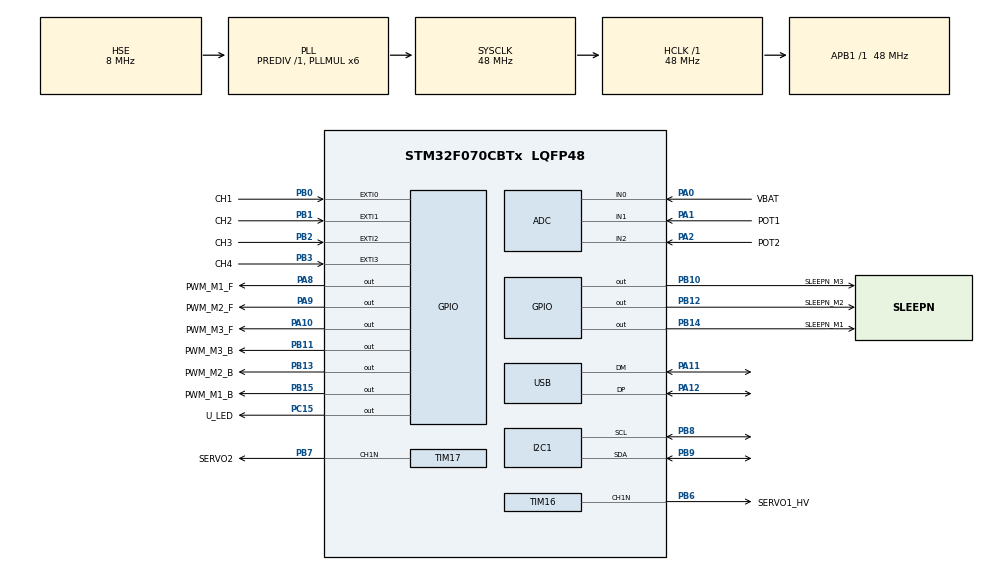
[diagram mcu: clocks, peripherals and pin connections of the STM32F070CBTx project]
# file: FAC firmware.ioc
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ADC.ContinuousConvMode=DISABLE
ADC.DMAContinuousRequests=ENABLE
ADC.DiscontinuousConvMode=DISABLE
ADC.EOCSelection=ADC_EOC_SEQ_CONV
ADC.SamplingTime=ADC_SAMPLETIME_55CYCLES_5
Dma.ADC.2.Direction=DMA_PERIPH_TO_MEMORY
Dma.ADC.2.Instance=DMA1_Channel1
Dma.ADC.2.MemDataAlignment=DMA_MDATAALIGN_HALFWORD
Dma.ADC.2.MemInc=DMA_MINC_ENABLE
Dma.ADC.2.Mode=DMA_CIRCULAR
Dma.ADC.2.PeriphDataAlignment=DMA_PDATAALIGN_HALFWORD
Dma.ADC.2.PeriphInc=DMA_PINC_DISABLE
Dma.ADC.2.Priority=DMA_PRIORITY_LOW
Dma.Request0=TIM1_CH3/UP
Dma.Request1=TIM3_CH4/UP
Dma.Request2=ADC
Dma.TIM1_CH3/UP.0.Direction=DMA_MEMORY_TO_PERIPH
Dma.TIM1_CH3/UP.0.Instance=DMA1_Channel5
Dma.TIM1_CH3/UP.0.MemDataAlignment=DMA_MDATAALIGN_WORD
Dma.TIM1_CH3/UP.0.MemInc=DMA_MINC_ENABLE
Dma.TIM1_CH3/UP.0.Mode=DMA_CIRCULAR
Dma.TIM1_CH3/UP.0.PeriphDataAlignment=DMA_PDATAALIGN_WORD
Dma.TIM1_CH3/UP.0.PeriphInc=DMA_PINC_DISABLE
Dma.TIM1_CH3/UP.0.Priority=DMA_PRIORITY_LOW
Dma.TIM3_CH4/UP.1.Direction=DMA_MEMORY_TO_PERIPH
Dma.TIM3_CH4/UP.1.Instance=DMA1_Channel3
Dma.TIM3_CH4/UP.1.MemDataAlignment=DMA_MDATAALIGN_WORD
Dma.TIM3_CH4/UP.1.MemInc=DMA_MINC_ENABLE
Dma.TIM3_CH4/UP.1.Mode=DMA_CIRCULAR
Dma.TIM3_CH4/UP.1.PeriphDataAlignment=DMA_PDATAALIGN_WORD
Dma.TIM3_CH4/UP.1.PeriphInc=DMA_PINC_DISABLE
Dma.TIM3_CH4/UP.1.Priority=DMA_PRIORITY_LOW
I2C1.Timing=0x00201D2B
Mcu.Family=STM32F0
Mcu.Name=STM32F070CBTx
Mcu.Package=LQFP48
NVIC.DMA1_Channel1_IRQn=true\:0\:0\:false\:false\:true\:false\:true\:true
NVIC.DMA1_Channel2_3_IRQn=true\:0\:0\:false\:false\:true\:false\:true\:true
NVIC.DMA1_Channel4_5_IRQn=true\:0\:0\:false\:false\:true\:false\:true\:true
NVIC.EXTI0_1_IRQn=true\:0\:0\:false\:false\:true\:true\:true\:true
NVIC.EXTI2_3_IRQn=true\:0\:0\:false\:false\:true\:true\:true\:true
NVIC.USB_IRQn=true\:0\:0\:false\:false\:true\:false\:true\:true
PA0.GPIO_Label=VBAT
PA0.Mode=IN0
PA0.Signal=ADC_IN0
PA1.GPIO_Label=POT1
PA1.Mode=IN1
PA1.Signal=ADC_IN1
PA10.GPIO_Label=PWM_M3_F
PA10.Signal=GPIO_Output
PA11.Mode=Device
PA11.Signal=USB_DM
PA12.Mode=Device
PA12.Signal=USB_DP
PA13.Mode=Serial_Wire
PA13.Signal=SYS_SWDIO
PA14.Mode=Serial_Wire
PA14.Signal=SYS_SWCLK
PA2.GPIO_Label=POT2
PA2.Mode=IN2
PA2.Signal=ADC_IN2
PA8.GPIO_Label=PWM_M1_F
PA8.Signal=GPIO_Output
PA9.GPIO_Label=PWM_M2_F
PA9.Signal=GPIO_Output
PB0.GPIO_Label=CH1
PB0.GPIO_ModeDefaultEXTI=GPIO_MODE_IT_RISING_FALLING
PB0.GPIO_PuPd=GPIO_PULLUP
PB0.Signal=GPXTI0
PB1.GPIO_Label=CH2
PB1.GPIO_ModeDefaultEXTI=GPIO_MODE_IT_FALLING
PB1.GPIO_PuPd=GPIO_PULLUP
PB1.Signal=GPXTI1
PB10.GPIO_Label=SLEEPN_M3
PB10.Signal=GPIO_Output
PB11.GPIO_Label=PWM_M3_B
PB11.Signal=GPIO_Output
PB12.GPIO_Label=SLEEPN_M2
PB12.Signal=GPIO_Output
PB13.GPIO_Label=PWM_M2_B
PB13.Signal=GPIO_Output
PB14.GPIO_Label=SLEEPN_M1
PB14.Signal=GPIO_Output
PB15.GPIO_Label=PWM_M1_B
PB15.Signal=GPIO_Output
PB2.GPIO_Label=CH3
PB2.GPIO_ModeDefaultEXTI=GPIO_MODE_IT_FALLING
PB2.GPIO_PuPd=GPIO_PULLUP
PB2.Signal=GPXTI2
PB3.GPIO_Label=CH4
PB3.GPIO_ModeDefaultEXTI=GPIO_MODE_IT_FALLING
PB3.GPIO_PuPd=GPIO_PULLUP
PB3.Signal=GPXTI3
PB6.GPIO_Label=SERVO1_HV
PB6.Mode=PWM Generation1 CH1N
PB6.Signal=TIM16_CH1N
PB7.GPIO_Label=SERVO2
PB7.Mode=PWM Generation1 CH1N
PB7.Signal=TIM17_CH1N
PB8.GPIO_Pu=GPIO_PULLUP
PB8.Mode=I2C
PB8.Signal=I2C1_SCL
PB9.GPIO_Pu=GPIO_PULLUP
PB9.Mode=I2C
PB9.Signal=I2C1_SDA
PC15-OSC32_OUT.GPIO_Label=U_LED
PC15-OSC32_OUT.Signal=GPIO_Output
PF0-OSC_IN.Mode=HSE-External-Oscillator
PF0-OSC_IN.Signal=RCC_OSC_IN
PF1-OSC_OUT.Mode=HSE-External-Oscillator
PF1-OSC_OUT.Signal=RCC_OSC_OUT
ProjectManager.HeapSize=0x200
ProjectManager.StackSize=0x400
ProjectManager.TargetToolchain=STM32CubeIDE
RCC.AHBFreq_Value=48000000
RCC.APB1Freq_Value=48000000
RCC.APB1TimFreq_Value=48000000
RCC.HCLKFreq_Value=48000000
RCC.PLLMUL=RCC_PLL_MUL6
RCC.SYSCLKFreq_VALUE=48000000
RCC.SYSCLKSource=RCC_SYSCLKSOURCE_PLLCLK
TIM1.Period=100-1
TIM1.Prescaler=0
TIM1.TIM_MasterOutputTrigger=TIM_TRGO_UPDATE
TIM16.Channel=TIM_CHANNEL_1
TIM16.OCNIdleState_1=TIM_OCNIDLESTATE_RESET
TIM16.OCNPolarity_1=TIM_OCNPOLARITY_HIGH
TIM16.Period=10000-1
TIM16.Prescaler=24-1
TIM17.Channel=TIM_CHANNEL_1
TIM17.Period=10000-1
TIM17.Prescaler=24-1
TIM3.Period=100-1
TIM3.TIM_MasterOutputTrigger=TIM_TRGO_UPDATE
TIM6.Prescaler=24-1
USB_DEVICE.CLASS_NAME_FS=CDC
USB_DEVICE.VirtualMode=Cdc
USB_DEVICE.VirtualModeFS=Cdc_FS
VP_TIM16_VS_ClockSourceINT.Mode=Enable_Timer
VP_TIM17_VS_ClockSourceINT.Mode=Enable_Timer
VP_TIM1_VS_ClockSourceINT.Mode=Internal
VP_TIM3_VS_ClockSourceINT.Mode=Internal
VP_TIM6_VS_ClockSourceINT.Mode=Enable_Timer
VP_USB_DEVICE_VS_USB_DEVICE_CDC_FS.Mode=CDC_FS
board=custom

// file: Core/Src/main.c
/* USER CODE BEGIN Header */
/**
 ******************************************************************************
 * @file           : main.c
 * @brief          : Main program body
 ******************************************************************************
 * @attention
 *
 * Copyright (c) 2024 STMicroelectronics.
 * All rights reserved.
 *
 * This software is licensed under terms that can be found in the LICENSE file
 * in the root directory of this software component.
 * If no LICENSE file comes with this software, it is provided AS-IS.
 *
 ******************************************************************************
 */
/* USER CODE END Header */
#include "main.h"
#include "usb_device.h"

/* USER CODE BEGIN Includes */
#include "string.h"
#include "DMAadc.h"
/* USER CODE END Includes */

ADC_HandleTypeDef hadc;
DMA_HandleTypeDef hdma_adc;

I2C_HandleTypeDef hi2c1;

TIM_HandleTypeDef htim1;
TIM_HandleTypeDef htim3;
TIM_HandleTypeDef htim6;
TIM_HandleTypeDef htim16;
TIM_HandleTypeDef htim17;
DMA_HandleTypeDef hdma_tim1_ch3_up;
DMA_HandleTypeDef hdma_tim3_ch4_up;

/* USER CODE BEGIN PV */
const uint8_t CODE_VERSION = 1;
const uint8_t CODE_SUBVERSION = 6;

// main code global variables
TankMotors tank;
uint8_t commandRecieved = 0;
uint16_t batteryVoltage = 0;
uint8_t cutoff = FALSE;
uint8_t limit = FALSE;
uint8_t batteryConfiguration = 0;	// 1=1S, 2=2S,0 not battery poweredx
uint8_t armed = FALSE;

const uint16_t speed_steps = 1000;

// settings variables
uint8_t thChannel = 2;	// defines the channel of the throttle
uint8_t stChannel = 4;
uint8_t wpChannel = 3;
uint8_t s1Channel = 3;
uint8_t s2Channel = 3;
uint8_t armChannel = 5;

uint8_t m1Rev = 1;	// defines if the motor 1 needs to be reversed
uint8_t m2Rev = 1;
uint8_t m3Rev = 0;
uint8_t s1Rev = 0;
uint8_t s2Rev = 0;

uint8_t mLeft = M1;	// defines that the motor 1 is the left motor
uint8_t mRight = M2;
uint8_t mWeapon = M3;

uint8_t weaponDoubleDirection = 0;	// defines if the weapon is double direction

uint8_t tankMixIsON = 1;	// defines if the tank mix is on(1) or off(0)

uint8_t noDisarm = 1;	// if 1 is always armed

uint8_t limitVoltage = 37;	// 3200mV (3.3V)
uint8_t cutOffVoltage = 34;	// 2800mV (2.8V)

uint_fast8_t recieverIsPWM = 1;	// if 1 the reciever must output four channel in PWM mode, else PPM on ch1
// for debug and tests
//  |
//  V
// tests

// debug
extern uint16_t reciever_channels[NUMBER_OF_PPM_CHANNEL + 1];
uint16_t ccr1;
uint16_t ccr2;
uint16_t ccr3;
uint16_t ccrservo1;
uint16_t ccrservo2;

uint8_t provaDatoEeprom;

uint8_t recievedString[20];

/* USER CODE END PV */

void SystemClock_Config(void);
static void MX_GPIO_Init(void);
static void MX_DMA_Init(void);
static void MX_TIM16_Init(void);
static void MX_TIM17_Init(void);
static void MX_TIM1_Init(void);
static void MX_I2C1_Init(void);
static void MX_ADC_Init(void);
static void MX_TIM6_Init(void);
static void MX_TIM3_Init(void);

int main(void) {

	/* MCU Configuration--------------------------------------------------------*/

	/* Reset of all peripherals, Initializes the Flash interface and the Systick. */
	HAL_Init();

	/* Configure the system clock */
	SystemClock_Config();

	/* Initialize all configured peripherals */
	MX_GPIO_Init();
	MX_DMA_Init();
	MX_TIM16_Init();
	MX_TIM17_Init();
	MX_TIM1_Init();
	MX_I2C1_Init();
	MX_USB_DEVICE_Init();
	MX_ADC_Init();
	MX_TIM6_Init();
	MX_TIM3_Init();
	/* USER CODE BEGIN 2 */

	/* ------------- ROBOT CONTROL CODE --------------- */
	// HAL_Delay(3000);
	initReciever(&htim6);
	initMotors();
	initDMAadc();

	// load settings
	//write_byte_eeprom(EEPROM_ISFIRSTBOOT_ADDRESS, 255);
	/* !!!!!!!!!!!!!!!!!! RICORDA DI SCOMMENTARE !!!!!!!!!!!!!!!!!!!!!!!!!*///               <------------------------
	uint8_t isFirstWrite = read_byte_eeprom(EEPROM_ISFIRSTBOOT_ADDRESS);
	if (isFirstWrite) {	// if is the first time the value is 255 (value of the memory empty)
		for (int i = 0; i < 10; i++) {
			HAL_GPIO_TogglePin(U_LED_GPIO_Port, U_LED_Pin);
			HAL_Delay(100);
		}
		storeSettingsToEeprom();	// write the default settings
		isFirstWrite = 0;// next boot it will load the settings from eeprom memory
		write_byte_eeprom(EEPROM_ISFIRSTBOOT_ADDRESS, isFirstWrite);
	} else {
		loadSettingsFromEeprom();	// load the settings from the eeprom memory
	}
	// disable all the dc motors
	disableMotor(M1);
	disableMotor(M2);
	disableMotor(M3);

	uint32_t time1 = 0;
	uint32_t time2 = 0;
	uint32_t time3 = 0;
	uint32_t timeLimitBattery = 0;
	uint32_t timeLowBattery = 0;

	/* ------------- TEST/DEBUG CODE --------------- */

	/* USER CODE END 2 */

	/* Infinite loop */
	/* USER CODE BEGIN WHILE */
	while (1) {
		/* ------------- ROBOT CONTROL CODE --------------- */
		DMAadcUpdate();

		if (!cutoff) {	// if the robot is not in cutoff
			// arm/disarm robot
			/*uint8_t string[30];
			sprintf(string, "%d %d %d %d  \n",
					reciever_channels[1],
					reciever_channels[2],
					reciever_channels[3],
					reciever_channels[4]);
			serialPrintString(string);
			//*/
			if (!noDisarm) {
				if (getChannelValuePercentage(armChannel) > 75)
					armed = TRUE;
				else
					armed = FALSE;
			} else {
				armed = TRUE;
			}

			if (!armed) {	// if the robot is not already armed
				makeSound(mLeft, 50);
				HAL_Delay(50);
//				if (noDisarm) {	// if the throttle steering channels are at center, arm the robot
//					if (checkChannelOnCenter(thChannel) && checkChannelOnCenter(stChannel)) armed = TRUE;
//				}
			}

			if (armed) {	// if armed do...
				// enable DC motors
				enableMotor(M1);
				enableMotor(M2);
				enableMotor(M3);
				// enable servos
				setServoIsEnable(TRUE, &htim17); // start servo 1 HV
				setServoIsEnable(TRUE, &htim16); // start servo 2

				// tank mix and movements
				if (tankMixIsON) { // calculate and use the tank mix only if it's enabled
					tank = tankMix(getChannelValuePercentage(stChannel),
							getChannelValuePercentage(thChannel));
					setTankMotor(tank);

				} else {	// if tank off, th->m1, st->m2, wp->m3
//					ccr1 = getChannelValuePercentage(thChannel);	// to whatch the channels value
//					ccr2 = getChannelValuePercentage(stChannel);
//					ccr3 = getChannelValuePercentage(wpChannel);
					setMotorSpeedBidirectional(M1,
							getChannelValuePercentage(thChannel));
					setMotorSpeedBidirectional(M2,
							getChannelValuePercentage(stChannel));

				}
				//weapon
				if (TRUE) {
					motSeekPot(mWeapon, reciever_channels[wpChannel], 1);
				} else {
					if (weaponDoubleDirection) {
						setMotorSpeedBidirectional(mWeapon,
								getChannelValuePercentage(wpChannel));
					} else {
						uint8_t wp = getChannelValuePercentage(wpChannel);
						if (limit == TRUE)
							wp = wp / 2;// valid only in the unidirectional mode  !!FOR DC MOTOR ONLY!!
						setMotorSpeedUnidirectional(mWeapon, wp);
					}
				}

				// set the position of servos
				if (limit == TRUE) { // !!ASUME THAT S1 IS CONNECTED TO THE WEAPON ESC
					uint8_t s1 = getChannelValuePercentage(s1Channel);
					if (limit == TRUE)
						s1 = s1 / 2;
					setServoAngle(S1, s1); // servo 1 attached to channel s1Channel
				} else {
					setServoAngle(S1, getChannelValuePercentage(s1Channel)); // servo 1 attached to channel s1Channel
				}
				setServoAngle(S2, getChannelValuePercentage(s2Channel));
			} else {	// if disarmed do...
				//disable DC motors
				disableMotor(M1);
				disableMotor(M2);
				disableMotor(M3);
				// turn of the servos signals
				setServoIsEnable(FALSE, &htim17); // stop servo 1 HV
				setServoIsEnable(FALSE, &htim16); // stop servo 2
			} // end if disarmed

			// battery control every 200ms for cutoff & limit
			if (HAL_GetTick() - time2 >= 200) {
				batteryVoltage = getBattVoltage();
				batteryConfiguration = getBatteryConfiguration();
				// send battery voltage
//				uint8_t s[20];
//				sprintf(s, "%dS Vbatt = %d mV\n", batteryConfiguration, batteryVoltage);
//				serialPrintString(s);
				// limit weapon speed if low battery
				if (HAL_GetTick() - timeLimitBattery
						>= CUTOFF_BATTERY_TIMEOUT * 1000) {
					limit = TRUE;// activate limit state (weapon speed limited)
				}
				if (batteryVoltage >= limitVoltage * 100 * batteryConfiguration
						&& !limit)
					timeLimitBattery = HAL_GetTick() + CUTOFF_BATTERY_TIMEOUT;

				// battery voltage & low voltage detection
				if (HAL_GetTick() - timeLowBattery
						>= CUTOFF_BATTERY_TIMEOUT * 1000) {
					cutoff = TRUE;	// activate cutoff state (robot disarmed)
				}
				// if the battery voltage is over the cutoff voltage, reset the timer
				if (batteryVoltage >= cutOffVoltage * 100 * batteryConfiguration
						&& !cutoff)
					timeLowBattery = HAL_GetTick() + CUTOFF_BATTERY_TIMEOUT;
				// reset the time
				time2 = HAL_GetTick();
			}

			// led blinking with a period of 4s (normal operation)
			if (HAL_GetTick() - time1 >= 2000 && limit == FALSE) {
				// led indicator
				HAL_GPIO_TogglePin(U_LED_GPIO_Port, U_LED_Pin);
				// reset the time
				time1 = HAL_GetTick();
			}
			// led blinking with a period of 750ms (limit active)
			if (HAL_GetTick() - time3 >= 350 && limit == TRUE) {
				// led indicator
				HAL_GPIO_TogglePin(U_LED_GPIO_Port, U_LED_Pin);
				// reset the time
				time3 = HAL_GetTick();
			}
		} else {	// if robot in cutoff mode
			//disable DC motors
			disableMotor(M1);
			disableMotor(M2);
			disableMotor(M3);
			// turn of the servos signals
			setServoAngle(S1, 0);		// servo 1 attached to channel s1Channel
			setServoAngle(S2, 0);
			if (HAL_GetTick() - time1 >= 100) {
				// led indicator
				HAL_GPIO_TogglePin(U_LED_GPIO_Port, U_LED_Pin);
				makeSound(mLeft, 100);	// beep while in cutoff mode
				// reset the time
				time1 = HAL_GetTick();
			}
		}

		// Can always accept command from the USB port
		if (commandRecieved) {	// recieved a command from the USB
			if (modifySettingsWithCommand()) {
				uint8_t s[] = "\nOK\n";
				serialPrintString(s);
				//serialPrintSettings();	// not needed
			} else {
				uint8_t s[] = "\nWHAT??\n";
				serialPrintString(s);
			}
			commandRecieved = FALSE;
		}

		/* ------------- TEST/DEBUG CODE --------------- */
//		enableMotor(M1);
//		enableMotor(M2);
//		enableMotor(M3);
//
//		for (int i = 0; i < 100; i++) {
//			setMotorSpeedUnidirectional(M1, i);
//			setMotorSpeedUnidirectional(M2, i);
//			setMotorSpeedUnidirectional(M3, i);
//			setServoAngle(1, i);
//			setServoAngle(2, i);
//			HAL_Delay(10);
//		}
//
		ccr1 = TIM1->CCR1;
		ccr2 = TIM1->CCR2;
		ccr3 = TIM1->CCR3;
//		ccrservo1 = TIM16->CCR1;
//		ccrservo2 = TIM17->CCR1;
		/* USER CODE END WHILE */

	}
}

void SystemClock_Config(void) {
	RCC_OscInitTypeDef RCC_OscInitStruct = { 0 };
	RCC_ClkInitTypeDef RCC_ClkInitStruct = { 0 };
	RCC_PeriphCLKInitTypeDef PeriphClkInit = { 0 };

	/** Initializes the RCC Oscillators according to the specified parameters
	 * in the RCC_OscInitTypeDef structure.
	 */
	RCC_OscInitStruct.OscillatorType = RCC_OSCILLATORTYPE_HSI
			| RCC_OSCILLATORTYPE_HSI14 | RCC_OSCILLATORTYPE_HSE;
	RCC_OscInitStruct.HSEState = RCC_HSE_ON;
	RCC_OscInitStruct.HSIState = RCC_HSI_ON;
	RCC_OscInitStruct.HSI14State = RCC_HSI14_ON;
	RCC_OscInitStruct.HSICalibrationValue = RCC_HSICALIBRATION_DEFAULT;
	RCC_OscInitStruct.HSI14CalibrationValue = 16;
	RCC_OscInitStruct.PLL.PLLState = RCC_PLL_ON;
	RCC_OscInitStruct.PLL.PLLSource = RCC_PLLSOURCE_HSE;
	RCC_OscInitStruct.PLL.PLLMUL = RCC_PLL_MUL6;
	RCC_OscInitStruct.PLL.PREDIV = RCC_PREDIV_DIV1;
	if (HAL_RCC_OscConfig(&RCC_OscInitStruct) != HAL_OK) {
		Error_Handler();
	}

	/** Initializes the CPU, AHB and APB buses clocks
	 */
	RCC_ClkInitStruct.ClockType = RCC_CLOCKTYPE_HCLK | RCC_CLOCKTYPE_SYSCLK
			| RCC_CLOCKTYPE_PCLK1;
	RCC_ClkInitStruct.SYSCLKSource = RCC_SYSCLKSOURCE_PLLCLK;
	RCC_ClkInitStruct.AHBCLKDivider = RCC_SYSCLK_DIV1;
	RCC_ClkInitStruct.APB1CLKDivider = RCC_HCLK_DIV1;

	if (HAL_RCC_ClockConfig(&RCC_ClkInitStruct, FLASH_LATENCY_1) != HAL_OK) {
		Error_Handler();
	}
	PeriphClkInit.PeriphClockSelection = RCC_PERIPHCLK_USB | RCC_PERIPHCLK_I2C1;
	PeriphClkInit.I2c1ClockSelection = RCC_I2C1CLKSOURCE_HSI;
	PeriphClkInit.UsbClockSelection = RCC_USBCLKSOURCE_PLL;

	if (HAL_RCCEx_PeriphCLKConfig(&PeriphClkInit) != HAL_OK) {
		Error_Handler();
	}
}

static void MX_ADC_Init(void) {

	ADC_ChannelConfTypeDef sConfig = { 0 };

	/** Configure the global features of the ADC (Clock, Resolution, Data Alignment and number of conversion)
	 */
	hadc.Instance = ADC1;
	hadc.Init.ClockPrescaler = ADC_CLOCK_ASYNC_DIV1;
	hadc.Init.Resolution = ADC_RESOLUTION_12B;
	hadc.Init.DataAlign = ADC_DATAALIGN_RIGHT;
	hadc.Init.ScanConvMode = ADC_SCAN_DIRECTION_FORWARD;
	hadc.Init.EOCSelection = ADC_EOC_SEQ_CONV;
	hadc.Init.LowPowerAutoWait = DISABLE;
	hadc.Init.LowPowerAutoPowerOff = DISABLE;
	hadc.Init.ContinuousConvMode = DISABLE;
	hadc.Init.DiscontinuousConvMode = DISABLE;
	hadc.Init.ExternalTrigConv = ADC_SOFTWARE_START;
	hadc.Init.ExternalTrigConvEdge = ADC_EXTERNALTRIGCONVEDGE_NONE;
	hadc.Init.DMAContinuousRequests = ENABLE;
	hadc.Init.Overrun = ADC_OVR_DATA_PRESERVED;
	if (HAL_ADC_Init(&hadc) != HAL_OK) {
		Error_Handler();
	}

	/** Configure for the selected ADC regular channel to be converted.
	 */
	sConfig.Channel = ADC_CHANNEL_0;
	sConfig.Rank = ADC_RANK_CHANNEL_NUMBER;
	sConfig.SamplingTime = ADC_SAMPLETIME_55CYCLES_5;
	if (HAL_ADC_ConfigChannel(&hadc, &sConfig) != HAL_OK) {
		Error_Handler();
	}

	/** Configure for the selected ADC regular channel to be converted.
	 */
	sConfig.Channel = ADC_CHANNEL_1;
	if (HAL_ADC_ConfigChannel(&hadc, &sConfig) != HAL_OK) {
		Error_Handler();
	}

	/** Configure for the selected ADC regular channel to be converted.
	 */
	sConfig.Channel = ADC_CHANNEL_2;
	if (HAL_ADC_ConfigChannel(&hadc, &sConfig) != HAL_OK) {
		Error_Handler();
	}

}

static void MX_I2C1_Init(void) {

	hi2c1.Instance = I2C1;
	hi2c1.Init.Timing = 0x00201D2B;
	hi2c1.Init.OwnAddress1 = 0;
	hi2c1.Init.AddressingMode = I2C_ADDRESSINGMODE_7BIT;
	hi2c1.Init.DualAddressMode = I2C_DUALADDRESS_DISABLE;
	hi2c1.Init.OwnAddress2 = 0;
	hi2c1.Init.OwnAddress2Masks = I2C_OA2_NOMASK;
	hi2c1.Init.GeneralCallMode = I2C_GENERALCALL_DISABLE;
	hi2c1.Init.NoStretchMode = I2C_NOSTRETCH_DISABLE;
	if (HAL_I2C_Init(&hi2c1) != HAL_OK) {
		Error_Handler();
	}

	/** Configure Analogue filter
	 */
	if (HAL_I2CEx_ConfigAnalogFilter(&hi2c1, I2C_ANALOGFILTER_ENABLE)
			!= HAL_OK) {
		Error_Handler();
	}

	/** Configure Digital filter
	 */
	if (HAL_I2CEx_ConfigDigitalFilter(&hi2c1, 0) != HAL_OK) {
		Error_Handler();
	}

}

static void MX_TIM1_Init(void) {

	TIM_ClockConfigTypeDef sClockSourceConfig = { 0 };
	TIM_MasterConfigTypeDef sMasterConfig = { 0 };

	htim1.Instance = TIM1;
	htim1.Init.Prescaler = 0;
	htim1.Init.CounterMode = TIM_COUNTERMODE_UP;
	htim1.Init.Period = 100 - 1;
	htim1.Init.ClockDivision = TIM_CLOCKDIVISION_DIV1;
	htim1.Init.RepetitionCounter = 0;
	htim1.Init.AutoReloadPreload = TIM_AUTORELOAD_PRELOAD_DISABLE;
	if (HAL_TIM_Base_Init(&htim1) != HAL_OK) {
		Error_Handler();
	}
	sClockSourceConfig.ClockSource = TIM_CLOCKSOURCE_INTERNAL;
	if (HAL_TIM_ConfigClockSource(&htim1, &sClockSourceConfig) != HAL_OK) {
		Error_Handler();
	}
	sMasterConfig.MasterOutputTrigger = TIM_TRGO_UPDATE;
	sMasterConfig.MasterSlaveMode = TIM_MASTERSLAVEMODE_DISABLE;
	if (HAL_TIMEx_MasterConfigSynchronization(&htim1, &sMasterConfig)
			!= HAL_OK) {
		Error_Handler();
	}

}

static void MX_TIM3_Init(void) {

	TIM_ClockConfigTypeDef sClockSourceConfig = { 0 };
	TIM_MasterConfigTypeDef sMasterConfig = { 0 };

	htim3.Instance = TIM3;
	htim3.Init.Prescaler = 0;
	htim3.Init.CounterMode = TIM_COUNTERMODE_UP;
	htim3.Init.Period = 100 - 1;
	htim3.Init.ClockDivision = TIM_CLOCKDIVISION_DIV1;
	htim3.Init.AutoReloadPreload = TIM_AUTORELOAD_PRELOAD_DISABLE;
	if (HAL_TIM_Base_Init(&htim3) != HAL_OK) {
		Error_Handler();
	}
	sClockSourceConfig.ClockSource = TIM_CLOCKSOURCE_INTERNAL;
	if (HAL_TIM_ConfigClockSource(&htim3, &sClockSourceConfig) != HAL_OK) {
		Error_Handler();
	}
	sMasterConfig.MasterOutputTrigger = TIM_TRGO_UPDATE;
	sMasterConfig.MasterSlaveMode = TIM_MASTERSLAVEMODE_DISABLE;
	if (HAL_TIMEx_MasterConfigSynchronization(&htim3, &sMasterConfig)
			!= HAL_OK) {
		Error_Handler();
	}

}

static void MX_TIM6_Init(void) {

	htim6.Instance = TIM6;
	htim6.Init.Prescaler = 24 - 1;
	htim6.Init.CounterMode = TIM_COUNTERMODE_UP;
	htim6.Init.Period = 65535;
	htim6.Init.AutoReloadPreload = TIM_AUTORELOAD_PRELOAD_DISABLE;
	if (HAL_TIM_Base_Init(&htim6) != HAL_OK) {
		Error_Handler();
	}

}

static void MX_TIM16_Init(void) {

	TIM_OC_InitTypeDef sConfigOC = { 0 };
	TIM_BreakDeadTimeConfigTypeDef sBreakDeadTimeConfig = { 0 };

	htim16.Instance = TIM16;
	htim16.Init.Prescaler = 24 - 1;
	htim16.Init.CounterMode = TIM_COUNTERMODE_UP;
	htim16.Init.Period = 10000 - 1;
	htim16.Init.ClockDivision = TIM_CLOCKDIVISION_DIV1;
	htim16.Init.RepetitionCounter = 0;
	htim16.Init.AutoReloadPreload = TIM_AUTORELOAD_PRELOAD_DISABLE;
	if (HAL_TIM_Base_Init(&htim16) != HAL_OK) {
		Error_Handler();
	}
	if (HAL_TIM_PWM_Init(&htim16) != HAL_OK) {
		Error_Handler();
	}
	sConfigOC.OCMode = TIM_OCMODE_PWM1;
	sConfigOC.Pulse = 0;
	sConfigOC.OCPolarity = TIM_OCPOLARITY_HIGH;
	sConfigOC.OCNPolarity = TIM_OCNPOLARITY_HIGH;
	sConfigOC.OCFastMode = TIM_OCFAST_DISABLE;
	sConfigOC.OCIdleState = TIM_OCIDLESTATE_RESET;
	sConfigOC.OCNIdleState = TIM_OCNIDLESTATE_RESET;
	if (HAL_TIM_PWM_ConfigChannel(&htim16, &sConfigOC, TIM_CHANNEL_1)
			!= HAL_OK) {
		Error_Handler();
	}
	sBreakDeadTimeConfig.OffStateRunMode = TIM_OSSR_DISABLE;
	sBreakDeadTimeConfig.OffStateIDLEMode = TIM_OSSI_DISABLE;
	sBreakDeadTimeConfig.LockLevel = TIM_LOCKLEVEL_OFF;
	sBreakDeadTimeConfig.DeadTime = 0;
	sBreakDeadTimeConfig.BreakState = TIM_BREAK_DISABLE;
	sBreakDeadTimeConfig.BreakPolarity = TIM_BREAKPOLARITY_HIGH;
	sBreakDeadTimeConfig.AutomaticOutput = TIM_AUTOMATICOUTPUT_DISABLE;
	if (HAL_TIMEx_ConfigBreakDeadTime(&htim16, &sBreakDeadTimeConfig)
			!= HAL_OK) {
		Error_Handler();
	}
	HAL_TIM_MspPostInit(&htim16);

}

static void MX_TIM17_Init(void) {

	TIM_OC_InitTypeDef sConfigOC = { 0 };
	TIM_BreakDeadTimeConfigTypeDef sBreakDeadTimeConfig = { 0 };

	htim17.Instance = TIM17;
	htim17.Init.Prescaler = 24 - 1;
	htim17.Init.CounterMode = TIM_COUNTERMODE_UP;
	htim17.Init.Period = 10000 - 1;
	htim17.Init.ClockDivision = TIM_CLOCKDIVISION_DIV1;
	htim17.Init.RepetitionCounter = 0;
	htim17.Init.AutoReloadPreload = TIM_AUTORELOAD_PRELOAD_DISABLE;
	if (HAL_TIM_Base_Init(&htim17) != HAL_OK) {
		Error_Handler();
	}
	if (HAL_TIM_PWM_Init(&htim17) != HAL_OK) {
		Error_Handler();
	}
	sConfigOC.OCMode = TIM_OCMODE_PWM1;
	sConfigOC.Pulse = 0;
	sConfigOC.OCPolarity = TIM_OCPOLARITY_HIGH;
	sConfigOC.OCNPolarity = TIM_OCNPOLARITY_HIGH;
	sConfigOC.OCFastMode = TIM_OCFAST_DISABLE;
	sConfigOC.OCIdleState = TIM_OCIDLESTATE_RESET;
	sConfigOC.OCNIdleState = TIM_OCNIDLESTATE_RESET;
	if (HAL_TIM_PWM_ConfigChannel(&htim17, &sConfigOC, TIM_CHANNEL_1)
			!= HAL_OK) {
		Error_Handler();
	}
	sBreakDeadTimeConfig.OffStateRunMode = TIM_OSSR_DISABLE;
	sBreakDeadTimeConfig.OffStateIDLEMode = TIM_OSSI_DISABLE;
	sBreakDeadTimeConfig.LockLevel = TIM_LOCKLEVEL_OFF;
	sBreakDeadTimeConfig.DeadTime = 0;
	sBreakDeadTimeConfig.BreakState = TIM_BREAK_DISABLE;
	sBreakDeadTimeConfig.BreakPolarity = TIM_BREAKPOLARITY_HIGH;
	sBreakDeadTimeConfig.AutomaticOutput = TIM_AUTOMATICOUTPUT_DISABLE;
	if (HAL_TIMEx_ConfigBreakDeadTime(&htim17, &sBreakDeadTimeConfig)
			!= HAL_OK) {
		Error_Handler();
	}
	HAL_TIM_MspPostInit(&htim17);

}

static void MX_DMA_Init(void) {

	/* DMA controller clock enable */
	__HAL_RCC_DMA1_CLK_ENABLE();

	/* DMA interrupt init */
	/* DMA1_Channel1_IRQn interrupt configuration */
	HAL_NVIC_SetPriority(DMA1_Channel1_IRQn, 0, 0);
	HAL_NVIC_EnableIRQ(DMA1_Channel1_IRQn);
	/* DMA1_Channel2_3_IRQn interrupt configuration */
	HAL_NVIC_SetPriority(DMA1_Channel2_3_IRQn, 0, 0);
	HAL_NVIC_EnableIRQ(DMA1_Channel2_3_IRQn);
	/* DMA1_Channel4_5_IRQn interrupt configuration */
	HAL_NVIC_SetPriority(DMA1_Channel4_5_IRQn, 0, 0);
	HAL_NVIC_EnableIRQ(DMA1_Channel4_5_IRQn);

}

static void MX_GPIO_Init(void) {
	GPIO_InitTypeDef GPIO_InitStruct = { 0 };

	/* GPIO Ports Clock Enable */
	__HAL_RCC_GPIOC_CLK_ENABLE();
	__HAL_RCC_GPIOF_CLK_ENABLE();
	__HAL_RCC_GPIOA_CLK_ENABLE();
	__HAL_RCC_GPIOB_CLK_ENABLE();

	/*Configure GPIO pin Output Level */
	HAL_GPIO_WritePin(U_LED_GPIO_Port, U_LED_Pin, GPIO_PIN_RESET);

	/*Configure GPIO pin Output Level */
	HAL_GPIO_WritePin(GPIOB,
			SLEEPN_M3_Pin | PWM_M3_B_Pin | SLEEPN_M2_Pin | PWM_M2_B_Pin
					| SLEEPN_M1_Pin | PWM_M1_B_Pin, GPIO_PIN_RESET);

	/*Configure GPIO pin Output Level */
	HAL_GPIO_WritePin(GPIOA, PWM_M1_F_Pin | PWM_M2_F_Pin | PWM_M3_F_Pin,
			GPIO_PIN_RESET);

	/*Configure GPIO pin : U_LED_Pin */
	GPIO_InitStruct.Pin = U_LED_Pin;
	GPIO_InitStruct.Mode = GPIO_MODE_OUTPUT_PP;
	GPIO_InitStruct.Pull = GPIO_NOPULL;
	GPIO_InitStruct.Speed = GPIO_SPEED_FREQ_LOW;
	HAL_GPIO_Init(U_LED_GPIO_Port, &GPIO_InitStruct);

	/*Configure GPIO pin : CH1_Pin */
	GPIO_InitStruct.Pin = CH1_Pin;
	GPIO_InitStruct.Mode = GPIO_MODE_IT_RISING_FALLING;
	GPIO_InitStruct.Pull = GPIO_PULLUP;
	HAL_GPIO_Init(CH1_GPIO_Port, &GPIO_InitStruct);

	/*Configure GPIO pins : CH2_Pin CH3_Pin CH4_Pin */
	GPIO_InitStruct.Pin = CH2_Pin | CH3_Pin | CH4_Pin;
	GPIO_InitStruct.Mode = GPIO_MODE_IT_FALLING;
	GPIO_InitStruct.Pull = GPIO_PULLUP;
	HAL_GPIO_Init(GPIOB, &GPIO_InitStruct);

	/*Configure GPIO pins : SLEEPN_M3_Pin PWM_M3_B_Pin SLEEPN_M2_Pin PWM_M2_B_Pin
	 SLEEPN_M1_Pin PWM_M1_B_Pin */
	GPIO_InitStruct.Pin = SLEEPN_M3_Pin | PWM_M3_B_Pin | SLEEPN_M2_Pin
			| PWM_M2_B_Pin | SLEEPN_M1_Pin | PWM_M1_B_Pin;
	GPIO_InitStruct.Mode = GPIO_MODE_OUTPUT_PP;
	GPIO_InitStruct.Pull = GPIO_NOPULL;
	GPIO_InitStruct.Speed = GPIO_SPEED_FREQ_LOW;
	HAL_GPIO_Init(GPIOB, &GPIO_InitStruct);

	/*Configure GPIO pins : PWM_M1_F_Pin PWM_M2_F_Pin PWM_M3_F_Pin */
	GPIO_InitStruct.Pin = PWM_M1_F_Pin | PWM_M2_F_Pin | PWM_M3_F_Pin;
	GPIO_InitStruct.Mode = GPIO_MODE_OUTPUT_PP;
	GPIO_InitStruct.Pull = GPIO_NOPULL;
	GPIO_InitStruct.Speed = GPIO_SPEED_FREQ_LOW;
	HAL_GPIO_Init(GPIOA, &GPIO_InitStruct);

	/* EXTI interrupt init*/
	HAL_NVIC_SetPriority(EXTI0_1_IRQn, 0, 0);
	HAL_NVIC_EnableIRQ(EXTI0_1_IRQn);

	HAL_NVIC_SetPriority(EXTI2_3_IRQn, 0, 0);
	HAL_NVIC_EnableIRQ(EXTI2_3_IRQn);

}

/* USER CODE BEGIN 4 */
int16_t map(int16_t x, int16_t in_min, int16_t in_max, int16_t out_min,
		int16_t out_max) {
	return (x - in_min) * (out_max - out_min) / (in_max - in_min) + out_min;
}

uint8_t checkChannelOnCenter(uint8_t channel) {
	uint8_t position = getChannelValuePercentage(channel);
	if (position >= 50 - 1 && position <= 50 + 1) {	// 50+1 and 50-1 to give some dead-zone
		return TRUE;
	} else {
		return FALSE;
	}
}

uint8_t checkChannelAtZero(uint8_t channel) {
	uint8_t position = getChannelValuePercentage(channel);
	if (position <= 0 + 2) {	// 0+2 to give some dead-zone
		return TRUE;
	} else {
		return FALSE;
	}
}

/* USER CODE END 4 */

void Error_Handler(void) {
	/* USER CODE BEGIN Error_Handler_Debug */
	/* User can add his own implementation to report the HAL error return state */
	__disable_irq();
	while (1) {
		int i = 0;
		i++;
	}
	/* USER CODE END Error_Handler_Debug */
}
